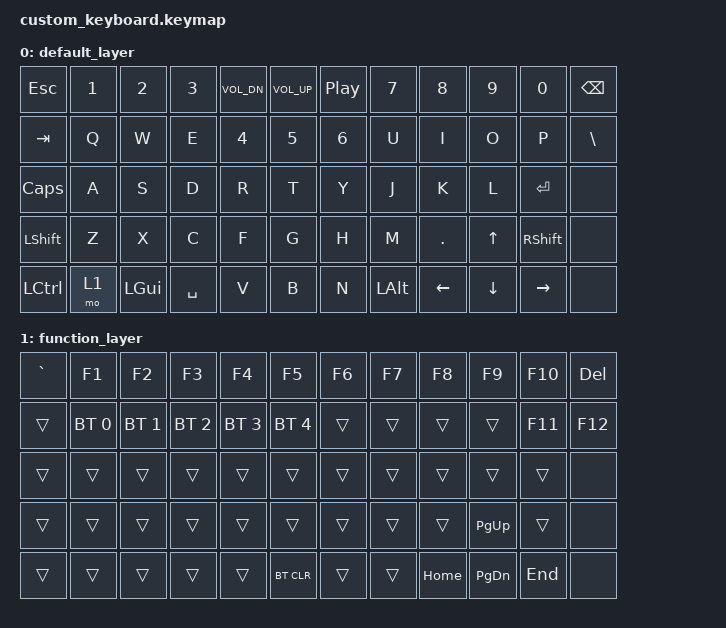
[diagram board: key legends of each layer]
/*
 * Copyright (c) 2025
 * SPDX-License-Identifier: MIT
 */

#include <behaviors.dtsi>
#include <dt-bindings/zmk/keys.h>
#include <dt-bindings/zmk/bt.h>

/ {
    keymap {
        compatible = "zmk,keymap";

        default_layer {
            bindings = <
                &kp ESC   &kp N1    &kp N2    &kp N3     &kp C_VOL_DN  &kp C_VOL_UP  &kp C_PP      &kp N7    &kp N8    &kp N9    &kp N0    &kp BSPC
                &kp TAB   &kp Q     &kp W     &kp E      &kp N4        &kp N5        &kp N6        &kp U     &kp I     &kp O     &kp P     &kp BSLH
                &kp CLCK  &kp A     &kp S     &kp D      &kp R         &kp T         &kp Y         &kp J     &kp K     &kp L     &kp RET   &none
                &kp LSHFT &kp Z     &kp X     &kp C      &kp F         &kp G         &kp H         &kp M     &kp DOT   &kp UP    &kp RSHFT &none
                &kp LCTRL &mo 1     &kp LGUI  &kp SPACE  &kp V         &kp B         &kp N         &kp LALT  &kp LEFT  &kp DOWN  &kp RIGHT &none
            >;
        };

        function_layer {
            bindings = <
                &kp GRAVE &kp F1        &kp F2        &kp F3        &kp F4        &kp F5        &kp F6     &kp F7    &kp F8    &kp F9     &kp F10   &kp DEL
                &trans    &bt BT_SEL 0  &bt BT_SEL 1  &bt BT_SEL 2  &bt BT_SEL 3  &bt BT_SEL 4  &trans     &trans    &trans    &trans     &kp F11   &kp F12
                &trans    &trans        &trans        &trans        &trans        &trans        &trans     &trans    &trans    &trans     &trans    &none
                &trans    &trans        &trans        &trans        &trans        &trans        &trans     &trans    &trans    &kp PG_UP  &trans    &none
                &trans    &trans        &trans        &trans        &trans        &bt BT_CLR    &trans     &trans    &kp HOME  &kp PG_DN  &kp END   &none
            >;
        };
    };
};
